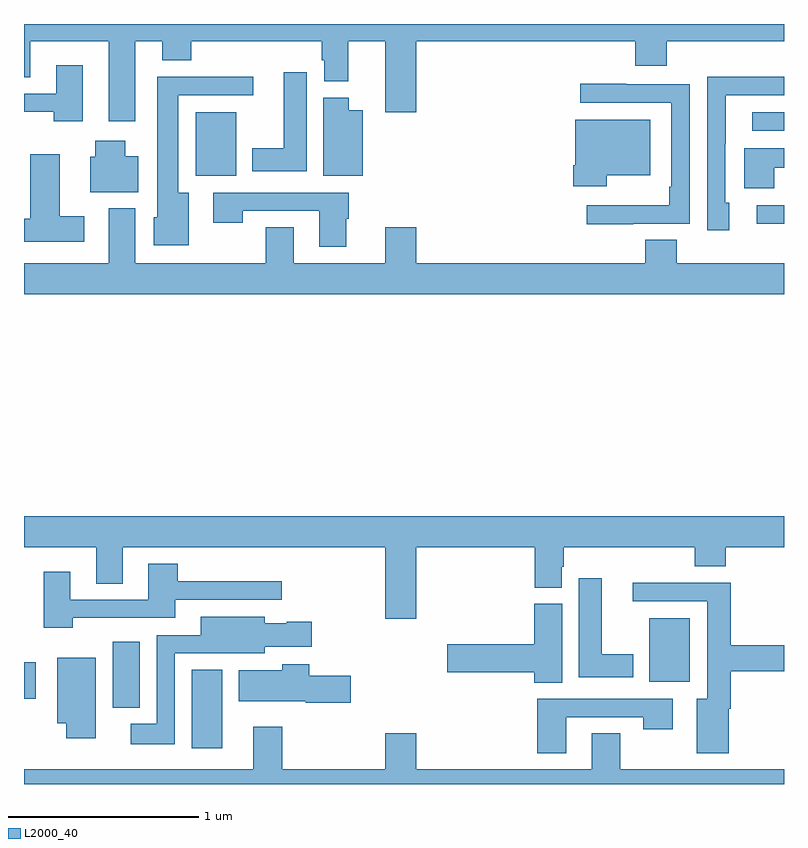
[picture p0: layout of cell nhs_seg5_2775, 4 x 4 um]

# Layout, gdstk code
import gdstk
lib = gdstk.Library(unit=1e-6, precision=1e-09)
def R(c, l, rs):  # rectangles x0, y0, x1, y1
    for r in rs: c.add(gdstk.rectangle(r[:2], r[2:], *l))
def P(c, l, *ps):  # polygons
    for p in ps: c.add(gdstk.Polygon(p, *l))
L2000_40 = (2000, 40)

nhs_seg5_2775 = lib.new_cell('nhs_seg5_2775')
R(nhs_seg5_2775, L2000_40, [(271.883,904.986,272.044,905.401), (271.466,905.201,271.609,905.548), (271,905.249,271.063,905.44), (274.292,905.336,274.504,905.671), (274.857,907.748,275,907.845), (271.904,908,272.116,908.335), (274.833,908.238,275,908.334)])
P(nhs_seg5_2775, L2000_40, [(271.585,908.708),(271.727,908.708),(271.727,908.609),(271.88,908.609),(271.88,908.708),(272.567,908.708),(272.567,908.607),(272.579,908.607),(272.579,908.497),(272.707,908.497),(272.707,908.708),(272.9,908.708),(272.9,908.334),(273.064,908.334),(273.064,908.708),(274.217,908.708),(274.217,908.58),(274.382,908.58),(274.382,908.708),(275,908.708),(275,908.799),(271,908.799),(271,908.518),(271.033,908.518),(271.033,908.708),(271.445,908.708),(271.445,908.286),(271.585,908.286)],
  [(271.309,908.581),(271.169,908.581),(271.169,908.433),(271,908.433),(271,908.337),(271.157,908.337),(271.157,908.286),(271.309,908.286)],
  [(272.488,908.545),(272.366,908.545),(272.366,908.146),(272.201,908.146),(272.201,908.024),(272.488,908.024)],
  [(271.867,907.912),(271.813,907.912),(271.813,908.424),(272.206,908.424),(272.206,908.522),(271.7,908.522),(271.7,907.782),(271.682,907.782),(271.682,907.634),(271.867,907.634)],
  [(274.711,907.857),(274.692,907.857),(274.692,908.17),(274.693,908.17),(274.693,908.424),(275,908.424),(275,908.522),(274.596,908.522),(274.596,907.713),(274.711,907.713)],
  [(274.207,907.749),(274.503,907.749),(274.503,908.481),(274.171,908.481),(274.171,908.485),(273.927,908.485),(273.927,908.385),(274.407,908.385),(274.407,907.942),(274.395,907.942),(274.395,907.846),(273.963,907.846),(273.963,907.745),(274.207,907.745)],
  [(272.782,908.344),(272.71,908.344),(272.71,908.412),(272.576,908.412),(272.576,908),(272.782,908)],
  [(274.068,908.003),(274.297,908.003),(274.297,908.296),(273.902,908.296),(273.902,908.056),(273.89,908.056),(273.89,907.944),(274.068,907.944)],
  [(271.6,908.104),(271.534,908.104),(271.534,908.185),(271.376,908.185),(271.376,908.1),(271.349,908.1),(271.349,907.913),(271.6,907.913)],
  [(274.948,908.042),(275,908.042),(275,908.146),(274.79,908.146),(274.79,907.934),(274.948,907.934)],
  [(271.318,907.787),(271.189,907.787),(271.189,908.113),(271.034,908.113),(271.034,907.774),(271,907.774),(271,907.652),(271.318,907.652)],
  [(272.695,907.773),(272.708,907.773),(272.708,907.911),(271.995,907.911),(271.995,907.752),(272.151,907.752),(272.151,907.815),(272.555,907.815),(272.555,907.626),(272.695,907.626)],
  [(275,907.54),(274.436,907.54),(274.436,907.664),(274.271,907.664),(274.271,907.54),(273.064,907.54),(273.064,907.729),(272.9,907.729),(272.9,907.54),(272.419,907.54),(272.419,907.73),(272.272,907.73),(272.272,907.54),(271.585,907.54),(271.585,907.828),(271.445,907.828),(271.445,907.54),(271,907.54),(271,907.376),(275,907.376)],
  [(271,906.044),(271.379,906.044),(271.379,905.854),(271.519,905.854),(271.519,906.044),(272.9,906.044),(272.9,905.67),(273.064,905.67),(273.064,906.044),(273.689,906.044),(273.689,905.833),(273.829,905.833),(273.829,905.943),(273.842,905.943),(273.842,906.044),(274.529,906.044),(274.529,905.945),(274.694,905.945),(274.694,906.044),(275,906.044),(275,906.208),(271,906.208)],
  [(271.256,905.673),(271.795,905.673),(271.795,905.769),(272.356,905.769),(272.356,905.866),(271.808,905.866),(271.808,905.959),(271.655,905.959),(271.655,905.769),(271.243,905.769),(271.243,905.917),(271.103,905.917),(271.103,905.622),(271.256,905.622)],
  [(274.207,905.482),(274.042,905.482),(274.042,905.881),(273.92,905.881),(273.92,905.36),(274.207,905.36)],
  [(274.708,905.195),(274.721,905.195),(274.721,905.392),(275,905.392),(275,905.528),(274.721,905.528),(274.721,905.858),(274.203,905.858),(274.203,905.76),(274.595,905.76),(274.595,905.248),(274.541,905.248),(274.541,904.962),(274.708,904.962)],
  [(273.832,905.748),(273.686,905.748),(273.686,905.534),(273.228,905.534),(273.228,905.387),(273.686,905.387),(273.686,905.332),(273.832,905.332)],
  [(271.794,905.487),(272.04,905.487),(272.04,905.486),(272.266,905.486),(272.266,905.522),(272.515,905.522),(272.515,905.652),(272.382,905.652),(272.382,905.644),(272.266,905.644),(272.266,905.68),(271.931,905.68),(271.931,905.583),(271.698,905.583),(271.698,905.116),(271.563,905.116),(271.563,905.009),(271.794,905.009)],
  [(271.378,905.464),(271.175,905.464),(271.175,905.12),(271.223,905.12),(271.223,905.04),(271.378,905.04)],
  [(272.719,905.369),(272.501,905.369),(272.501,905.428),(272.359,905.428),(272.359,905.398),(272.129,905.398),(272.129,905.234),(272.484,905.234),(272.484,905.227),(272.719,905.227)],
  [(273.853,905.151),(274.258,905.151),(274.258,905.088),(274.414,905.088),(274.414,905.247),(273.701,905.247),(273.701,904.962),(273.853,904.962)],
  [(275,904.876),(274.137,904.876),(274.137,905.066),(273.989,905.066),(273.989,904.876),(273.064,904.876),(273.064,905.065),(272.9,905.065),(272.9,904.876),(272.36,904.876),(272.36,905.101),(272.207,905.101),(272.207,904.876),(271,904.876),(271,904.799),(275,904.799)])

lib.write_gds('nhs_seg5_2775.gds')
